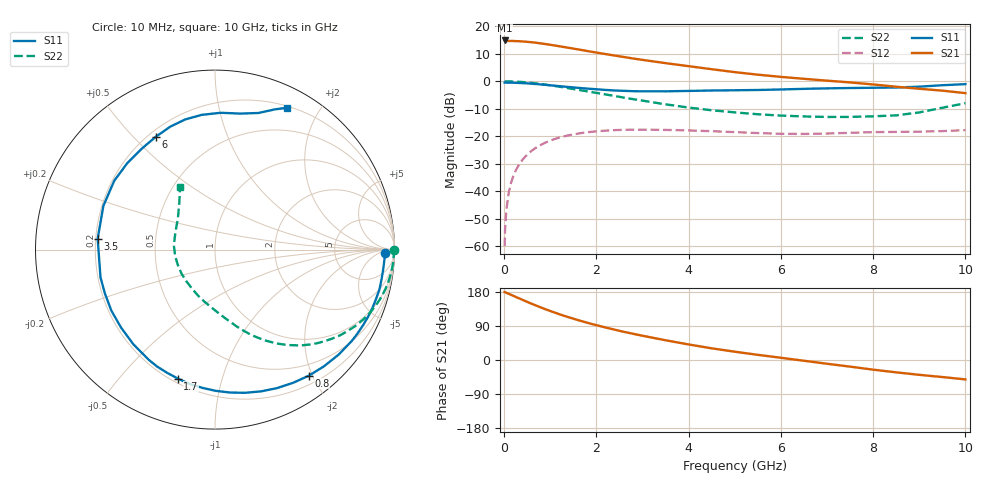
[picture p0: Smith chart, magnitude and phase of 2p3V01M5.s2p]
! (c) 2009  Infineon Technologies AG, Munich
! Infineon Technologies  Discrete & RF Semiconductors
! BFP420
! VCE =  3.0 V,  IC =  1.5 mA
! Common Emitter S-Parameters:  Nov 2009
# GHz  S  MA  R  50
!  f  S11  S21  S12  S22
! GHz  MAG  ANG  MAG  ANG  MAG  ANG  MAG  ANG
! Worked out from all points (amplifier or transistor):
!   46 points, 10 MHz to 10 GHz, reference 50 ohm
!   highest |S21| = 14.9 dB at 10 MHz (marker M1)
!   |S21| within 3 dB of that: start of sweep to 1.512 GHz
!   unconditionally stable (mu >= 1): 4.143 GHz to end of sweep
!   at 300 MHz: K = 0.03, MSG = 22.8 dB, |S12| = -31.0 dB
!   at 1.7 GHz: K = 0.31, MSG = 15.1 dB, |S12| = -18.8 dB
!   at 10 GHz: K = 1.27, MAG = 3.6 dB, |S12| = -17.8 dB
!   lowest NFmin = 0.52 dB at 900 MHz
!   S11 on the Smith chart (normalised r, x): 10 MHz: 31, -13; 800 MHz: 0.32, -1.95; 1.7 GHz: 0.22, -0.73; 3.5 GHz: 0.21, +0.04; 6 GHz: 0.23, +0.58; 10 GHz: 0.22, +1.61
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0.01  0.9463 -1.3  5.534 179.3  0.001 87.2  0.9959 0.0
0.02  0.9472 -1.3  5.361 179.2  0.002 84.2  0.9961 -0.7
0.05  0.9458 -3.2  5.391 177.2  0.0047 88.4  0.9965 -1.8
0.1  0.9435 -6.8  5.423 174.7  0.0095 85.8  0.9953 -3.7
0.2  0.9429 -13.5  5.413 169.4  0.019 82.2  0.9897 -7.4
0.35  0.9312 -23.7  5.344 161.4  0.033 76.2  0.9748 -13.0
0.5  0.9165 -33.7  5.225 153.4  0.0463 70.5  0.9524 -18.3
0.8  0.8759 -53.3  4.882 138.5  0.07 59.2  0.8923 -28.3
1  0.8453 -66.0  4.618 129.3  0.0834 52.3  0.8449 -34.4
1.2  0.8153 -78.1  4.336 120.7  0.0948 46.0  0.7959 -39.9
1.4  0.7869 -89.7  4.064 112.7  0.1042 40.0  0.7476 -45.0
1.7  0.7476 -106.1  3.686 101.8  0.1152 32.1  0.6782 -51.7
2.2  0.6963 -130.9  3.127 85.7  0.1265 20.8  0.5761 -61.3
2.6  0.6701 -149.6  2.762 74.2  0.1309 12.9  0.5044 -68.1
3  0.6566 -166.3  2.453 64.0  0.1319 6.3  0.4444 -74.3
3.5  0.6565 174.7  2.139 52.1  0.1304 -0.5  0.3811 -82.4
4.5  0.6799 145.6  1.659 30.8  0.1236 -10.0  0.2971 -101.1
5.5  0.6947 126.1  1.32 13.6  0.1142 -14.8  0.2513 -121.1
6  0.7099 117.7  1.202 5.9  0.1108 -15.2  0.2375 -132.5
7  0.7437 103.0  1.027 -9.9  0.112 -14.9  0.2244 -156.7
8.5  0.7707 79.5  0.796 -32.6  0.12 -19.2  0.2399 157.0
10  0.8872 63.0  0.609 -51.2  0.1293 -21.5  0.3999 119.1
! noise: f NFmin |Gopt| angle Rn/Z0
0.9  0.52  0.55  33  0.27
1.8  1.07  0.35  77  0.21
2.4  1.18  0.36  101  0.18
3  1.41  0.36  134  0.13
4  1.68  0.4  -172  0.1
5  2.08  0.44  -130  0.32
6  2.89  0.57  -114  0.39
